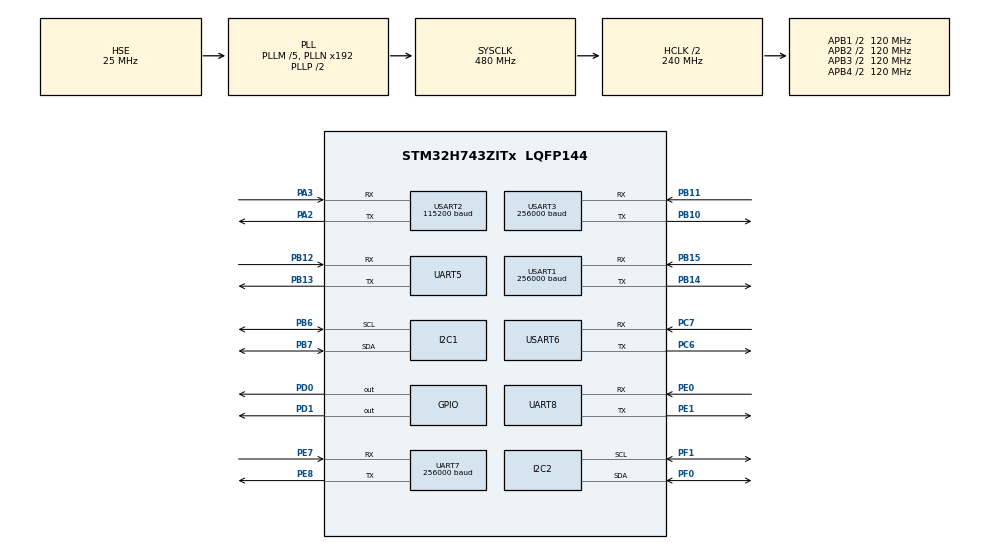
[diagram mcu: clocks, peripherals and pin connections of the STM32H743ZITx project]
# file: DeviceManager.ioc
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CORTEX_M7.default_mode_Activation=1
Dma.Request0=USART6_TX
Dma.USART6_TX.0.Direction=DMA_MEMORY_TO_PERIPH
Dma.USART6_TX.0.EventEnable=DISABLE
Dma.USART6_TX.0.FIFOMode=DMA_FIFOMODE_DISABLE
Dma.USART6_TX.0.Instance=DMA1_Stream0
Dma.USART6_TX.0.MemDataAlignment=DMA_MDATAALIGN_BYTE
Dma.USART6_TX.0.MemInc=DMA_MINC_ENABLE
Dma.USART6_TX.0.Mode=DMA_NORMAL
Dma.USART6_TX.0.PeriphDataAlignment=DMA_PDATAALIGN_BYTE
Dma.USART6_TX.0.PeriphInc=DMA_PINC_DISABLE
Dma.USART6_TX.0.Polarity=HAL_DMAMUX_REQ_GEN_RISING
Dma.USART6_TX.0.Priority=DMA_PRIORITY_LOW
Dma.USART6_TX.0.RequestNumber=1
Dma.USART6_TX.0.SignalID=NONE
Dma.USART6_TX.0.SyncEnable=DISABLE
Dma.USART6_TX.0.SyncPolarity=HAL_DMAMUX_SYNC_NO_EVENT
Dma.USART6_TX.0.SyncRequestNumber=1
Dma.USART6_TX.0.SyncSignalID=NONE
I2C1.Timing=0x307075B1
I2C2.Timing=0x307075B1
Mcu.Family=STM32H7
Mcu.Name=STM32H743ZITx
Mcu.Package=LQFP144
NVIC.DMA1_Stream0_IRQn=true\:0\:0\:false\:false\:true\:false\:true\:true
NVIC.PriorityGroup=NVIC_PRIORITYGROUP_4
NVIC.TIM1_UP_IRQn=true\:15\:0\:true\:false\:true\:true\:true\:true
NVIC.TIM2_IRQn=true\:15\:0\:true\:false\:true\:true\:true\:true
NVIC.TIM3_IRQn=true\:15\:0\:true\:false\:true\:true\:true\:true
NVIC.UART7_IRQn=true\:0\:0\:true\:false\:true\:true\:true\:true
NVIC.USART2_IRQn=true\:1\:0\:true\:false\:true\:true\:true\:true
PA13\ (JTMS/SWDIO).Mode=Serial_Wire
PA13\ (JTMS/SWDIO).Signal=DEBUG_JTMS-SWDIO
PA14\ (JTCK/SWCLK).Mode=Serial_Wire
PA14\ (JTCK/SWCLK).Signal=DEBUG_JTCK-SWCLK
PA2.Mode=Asynchronous
PA2.Signal=USART2_TX
PA3.Mode=Asynchronous
PA3.Signal=USART2_RX
PB10.Mode=Asynchronous
PB10.Signal=USART3_TX
PB11.Mode=Asynchronous
PB11.Signal=USART3_RX
PB12.Mode=Asynchronous
PB12.Signal=UART5_RX
PB13.Mode=Asynchronous
PB13.Signal=UART5_TX
PB14.Mode=Asynchronous
PB14.Signal=USART1_TX
PB15.Mode=Asynchronous
PB15.Signal=USART1_RX
PB6.Mode=I2C
PB6.Signal=I2C1_SCL
PB7.Mode=I2C
PB7.Signal=I2C1_SDA
PC14-OSC32_IN\ (OSC32_IN).Mode=LSE-External-Oscillator
PC14-OSC32_IN\ (OSC32_IN).Signal=RCC_OSC32_IN
PC15-OSC32_OUT\ (OSC32_OUT).Mode=LSE-External-Oscillator
PC15-OSC32_OUT\ (OSC32_OUT).Signal=RCC_OSC32_OUT
PC6.Mode=Asynchronous
PC6.Signal=USART6_TX
PC7.Mode=Asynchronous
PC7.Signal=USART6_RX
PD0.Signal=GPIO_Output
PD1.Signal=GPIO_Output
PE0.Mode=Asynchronous
PE0.Signal=UART8_RX
PE1.Mode=Asynchronous
PE1.Signal=UART8_TX
PE7.Mode=Asynchronous
PE7.Signal=UART7_RX
PE8.Mode=Asynchronous
PE8.Signal=UART7_TX
PF0.Mode=I2C
PF0.Signal=I2C2_SDA
PF1.Mode=I2C
PF1.Signal=I2C2_SCL
PH0-OSC_IN\ (PH0).Mode=HSE-External-Oscillator
PH0-OSC_IN\ (PH0).Signal=RCC_OSC_IN
PH1-OSC_OUT\ (PH1).Mode=HSE-External-Oscillator
PH1-OSC_OUT\ (PH1).Signal=RCC_OSC_OUT
ProjectManager.HeapSize=0x2000
ProjectManager.StackSize=0x2000
ProjectManager.TargetToolchain=MDK-ARM V5.32
RCC.ADCFreq_Value=50390625
RCC.APB1Freq_Value=120000000
RCC.APB2Freq_Value=120000000
RCC.APB3Freq_Value=120000000
RCC.APB4Freq_Value=120000000
RCC.CortexFreq_Value=480000000
RCC.D1PPRE=RCC_APB3_DIV2
RCC.D2PPRE1=RCC_APB1_DIV2
RCC.D2PPRE2=RCC_APB2_DIV2
RCC.D3PPRE=RCC_APB4_DIV2
RCC.DIVM1=5
RCC.DIVN1=192
RCC.HCLKFreq_Value=240000000
RCC.HPRE=RCC_HCLK_DIV2
RCC.HSE_VALUE=25000000
RCC.PLL2FRACN=0
RCC.PLL3FRACN=0
RCC.PLLFRACN=0
RCC.PLLSourceVirtual=RCC_PLLSOURCE_HSE
RCC.SYSCLKFreq_VALUE=480000000
RCC.SYSCLKSource=RCC_SYSCLKSOURCE_PLLCLK
RCC.USBCLockSelection=RCC_USBCLKSOURCE_HSI48
RCC.USBFreq_Value=48000000
TIM1.Period=50000
TIM1.Prescaler=240
TIM2.Period=62500
TIM2.Prescaler=239
TIM3.Period=25000
TIM3.Prescaler=240
UART7.BaudRate=256000
USART1.BaudRate=256000
USART1.VirtualMode-Asynchronous=VM_ASYNC
USART2.BaudRate=115200
USART2.VirtualMode-Asynchronous=VM_ASYNC
USART3.BaudRate=256000
USART3.VirtualMode-Asynchronous=VM_ASYNC
USART6.VirtualMode-Asynchronous=VM_ASYNC
VP_MEMORYMAP_VS_MEMORYMAP.Mode=CurAppReg
VP_TIM1_VS_ClockSourceINT.Mode=Internal
VP_TIM2_VS_ClockSourceINT.Mode=Internal
VP_TIM3_VS_ClockSourceINT.Mode=Internal
board=custom

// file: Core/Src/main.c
/* USER CODE BEGIN Header */
/**
  ******************************************************************************
  * @file           : main.c
  * @brief          : Main program body
  ******************************************************************************
  * @attention
  *
  * Copyright (c) 2026 STMicroelectronics.
  * All rights reserved.
  *
  * This software is licensed under terms that can be found in the LICENSE file
  * in the root directory of this software component.
  * If no LICENSE file comes with this software, it is provided AS-IS.
  *
  ******************************************************************************
  */
/* USER CODE END Header */
#include "main.h"
#include "dma.h"
#include "i2c.h"
#include "tim.h"
#include "usart.h"
#include "gpio.h"

/* USER CODE BEGIN Includes */
#include "comm.h"
#include "autocontrol.h"
#include "string.h"
#include <stdio.h>
#include <stdlib.h>
#include "aht20.h"
#include "ms5837.h"
/* USER CODE END Includes */

/* USER CODE BEGIN PV */
#define thrust_mean_filter_length 20
CoordinateSystems robot;
CoordinateSystems target;
extern RecBuf uart7rec;
float Vx = 0, Vy = 0, Ry = 0, Tx = 0, Ty = 0, Tz = 0, Mx = 0, My = 0, Mz = 0;

CoordinateSystems robot_pos; // 真实的机器人

CoordinateSystems robot_im_pos;    // 假的水平的机器人,用于计算机器人水平位置误差
CoordinateSystems robot_im_spd;    // 速度空间中的机器人,用于计算机器人水平横移、前进速度
CoordinateSystems robot_im_thrust; // 推力空间中的的机器人,用于计算推力
CoordinateVector  required_thrust = {0, 0, 0, 0, 0, 0};

RobotController robot_controller;
float openloop_thrust[6] = {0}; // 0~5 correspond x y z rx ry rz

MeanFilter meanfilter[6];

int led_motion   = 0;
int led_dataup   = 0;
int led_uart4    = 0;
int led_uart7    = 0;
int led_main     = 0;
int led_watchdog = 0;
int led_ms5837   = 0;

int threadmonitor_tim2  = 30;
int threadmonitor_tim3  = 30;
int threadmonitor_uart4 = 300;
int threadmonitor_uart7 = 300;

int start = 0;

uint8_t transbuf[159] = {0};

float measureddepth = 0;
float realdepth     = 0;
float startdepth    = 0;
float checkeddepth  = 0;
AHT20_HandleTypeDef aht20;
uint8_t led[2] = {0, 0};
/* USER CODE END PV */

void SystemClock_Config(void);
static void MPU_Config(void);

/* USER CODE BEGIN 0 */
void HAL_TIM_PeriodElapsedCallback(TIM_HandleTypeDef *htim)
{
    static float motorthrust[6]        = {0}; // 0~5 correspond motor0~5
    static float askedthrust[6]        = {0};
    static float motorthrust_filted[6] = {0};

    //  1号定时器中断
    //  频率 20hz
    if (htim == (&htim1))
    { // watch dog
        threadmonitor_tim2--;
        threadmonitor_tim3--;
        threadmonitor_uart4--;
        threadmonitor_uart7--;

        if (threadmonitor_tim2 <= 0)
        {
            __HAL_TIM_CLEAR_IT(&htim2, TIM_IT_UPDATE);
            HAL_TIM_Base_Start_IT(&htim2);
            threadmonitor_tim2 = 30;
        }
        if (threadmonitor_tim3 <= 0)
        {
            __HAL_TIM_CLEAR_IT(&htim3, TIM_IT_UPDATE);
            HAL_TIM_Base_Start_IT(&htim3);
            threadmonitor_tim3 = 30;
        }
        // if (threadmonitor_uart4 <= 0)
        // {
        //     HAL_UART_Receive_IT(&huart4, uart2rec.buf, 1);
        //     __HAL_UART_CLEAR_OREFLAG(&huart4);
        //     threadmonitor_uart4 = 30;
        // }
        if (threadmonitor_uart7 <= 0)
        {
            MX_UART7_Init();
            HAL_UART_Receive_IT(&huart7, uart7rec.buf + uart7rec.cnt, 1);
            threadmonitor_uart7 = 50;
        }
        // led
        if (led_watchdog)
            HAL_GPIO_WritePin(GPIOD, GPIO_PIN_5, GPIO_PIN_SET);
        else
            HAL_GPIO_WritePin(GPIOD, GPIO_PIN_5, GPIO_PIN_RESET);
        led_watchdog = !led_watchdog;
    }
    //  2号定时器中断
    //  频率 16hz
   if (htim == (&htim2))
    {
				if (imu.pos.x == 0.0f) imu.pos.x = 0.0f;
				if (imu.pos.y == 0.0f) imu.pos.y = 0.0f;
				if (imu.pos.z == 0.0f) imu.pos.z = 0.0f;
				if (imu.spd.x == 0.0f) imu.spd.x = 0.0f;
				if (imu.spd.y == 0.0f) imu.spd.y = 0.0f;
				if (imu.spd.z == 0.0f) imu.spd.z = 0.0f;
        threadmonitor_tim3 = 20;
				transbuf[0]=0xFA;
				transbuf[1]=0xAF;
				transbuf[157]=0xFB;
				transbuf[158]=0xBF;
        memcpy(transbuf + 3, &(robot.base.vector), 24);
        // memcpy(transbuf + 27, &(robot.target_inbase.vector), 24);
        memcpy(transbuf + 27, &(robot_im_pos.target_inbase.vector), 12);
        memcpy(transbuf + 39, (uint8_t *)&(robot_pos.target_inbase.vector.rx), 12);
        memcpy(transbuf + 51, &(robot.target_inworld.vector), 24);
        memcpy(transbuf + 75, &(robot_controller.state), 6);
        memcpy(transbuf + 81, &(imu), 50);
        memcpy(transbuf + 131, &(motorthrust_filted), 24);
        memcpy(transbuf + 155, &led, 2);

        // __HAL_UNLOCK(&huart4);
        HAL_UART_Transmit(&huart2, transbuf, 159, 100);

        // led
        if (led_dataup)
            HAL_GPIO_WritePin(GPIOD, GPIO_PIN_1, GPIO_PIN_SET);
        else
            HAL_GPIO_WritePin(GPIOD, GPIO_PIN_1, GPIO_PIN_RESET);
        led_dataup = !led_dataup;
    }
    //  3号定时器中断
    //  频率 40hz
    else if (htim == (&htim3))
    {
        // threadmonitor_tim2 = 20;

        // // Cs data refresh
        robot.base.vector.x  = imu.pos.x;
        robot.base.vector.y  = imu.pos.y;
        robot.base.vector.z  = imu.pos.z;
        robot.base.vector.rx = imu.pos.rx;
        robot.base.vector.ry = imu.pos.ry;
        robot.base.vector.rz = imu.pos.rz;

        // // refresh CoordinateSystems
        // robot.base.extract(&(robot.base));

        // // Cs transform
        // robot.world2base(&robot);

        // 计算各控制器所需测量值与误差值DF
        // 机器人坐标
        robot_im_pos.base.vector.x = robot_pos.base.vector.x = imu.pos.x;
        robot_im_pos.base.vector.y = robot_pos.base.vector.y = imu.pos.y;
        robot_im_pos.base.vector.z = robot_pos.base.vector.z = imu.pos.z;

        // 目标位置
        robot_im_pos.target_inworld.vector.x = robot_pos.target_inworld.vector.x = robot.target_inworld.vector.x;
        robot_im_pos.target_inworld.vector.y = robot_pos.target_inworld.vector.y = robot.target_inworld.vector.y;
        robot_im_pos.target_inworld.vector.z = robot_pos.target_inworld.vector.z = robot.target_inworld.vector.z;
        robot_im_pos.target_inworld.vector.rz = robot_pos.target_inworld.vector.rz = robot.target_inworld.vector.rz;
        robot_im_pos.target_inworld.extract(&(robot_im_pos.target_inworld));

        // 姿态
        robot_pos.base.vector.rx = imu.pos.rx;
        robot_pos.base.vector.ry = imu.pos.ry;
        robot_pos.base.vector.rz = imu.pos.rz;
        robot_pos.base.extract(&(robot_pos.base));

        robot_im_spd.base.vector.rx = robot_im_thrust.base.vector.rx = robot_pos.base.vector.rx;
        robot_im_spd.base.vector.ry = robot_im_thrust.base.vector.ry = robot_pos.base.vector.ry;
        robot_im_pos.base.vector.rz                                  = robot_pos.base.vector.rz;

        // 导出各参考系变换器对象的基底矩阵
        robot_im_pos.base.extract(&(robot_im_pos.base));
        robot_im_spd.base.extract(&(robot_im_spd.base));
        robot_im_thrust.base.extract(&(robot_im_thrust.base));

        // 计算机器人的水平横移与前进速度
        robot_im_spd.target_inbase.vector.x = imu.spd.x;
        robot_im_spd.target_inbase.vector.y = imu.spd.y;
        robot_im_spd.target_inbase.vector.z = imu.spd.z;
        robot_im_spd.target_inbase.extract(&(robot_im_spd.target_inbase));
        robot_im_spd.base2world(&robot_im_spd);

        // 计算机器人参考系中的水平误差（横向与前向）
        robot_im_pos.world2base(&robot_im_pos);

        // Pid controller refresh
        if (robot_controller.state[0] == 1) // x
            Tx = robot_controller.x.refresh(&robot_controller.x, robot_im_pos.target_inbase.vector.x);
        else
            Tx = openloop_thrust[0];

        if (robot_controller.state[1] == 1) // y
            Ty = robot_controller.y.refresh(&robot_controller.y, robot_im_pos.target_inbase.vector.y);
        else
            Ty = openloop_thrust[1];

        if (robot_controller.state[2] == 1) // z
            Tz = robot_controller.z.refresh(&robot_controller.z, robot_im_pos.target_inbase.vector.z) + 400;
        else
            Tz = openloop_thrust[2];

        // 姿态控制器
        robot_pos.target_inworld.vector.ry = Ry;
        robot_pos.target_inworld.extract(&(robot_pos.target_inworld));
        robot_pos.world2base(&robot_pos);

        if (robot_controller.state[3] == 1) // rx
            //Mx = robot_controller.rx.refresh(&robot_controller.rx, AngleCorrect(robot_pos.target_inbase.vector.rx));
            Mx = 0;
        else
            //Mx = openloop_thrust[3];
            Mx = 0;
        if (robot_controller.state[4] == 1) // ry
            My = robot_controller.ry.refresh(&robot_controller.ry, AngleCorrect(robot_pos.target_inbase.vector.ry));
        else
            My = openloop_thrust[4];

        if (robot_controller.state[5] == 1) // rz
            Mz = robot_controller.rz.refresh(&robot_controller.rz, AngleCorrect(robot_pos.target_inbase.vector.rz));
        else
            Mz = openloop_thrust[5];

        // 推力换算
        // Tx = NEGATIVE_BUOYANCY * tan(robot_pos.base.vector.ry * deg2rad);

        robot_im_thrust.target_inworld.vector.x = Tx;
        robot_im_thrust.target_inworld.vector.y = Ty;
        robot_im_thrust.target_inworld.vector.z = Tz;
        robot_im_thrust.target_inworld.extract(&(robot_im_thrust.target_inworld));
        robot_im_thrust.world2base(&robot_im_thrust);

        askedthrust[0] = robot_im_thrust.target_inbase.vector.x;
        askedthrust[1] = robot_im_thrust.target_inbase.vector.y;
        askedthrust[2] = robot_im_thrust.target_inbase.vector.z;

        robot_im_thrust.target_inworld.vector.x = Mx;
        robot_im_thrust.target_inworld.vector.y = My;
        robot_im_thrust.target_inworld.vector.z = Mz;
        robot_im_thrust.target_inworld.extract(&(robot_im_thrust.target_inworld));
        robot_im_thrust.world2base(&robot_im_thrust);

        askedthrust[3] = robot_im_thrust.target_inbase.vector.x;
        askedthrust[4] = robot_im_thrust.target_inbase.vector.y;
        askedthrust[5] = robot_im_thrust.target_inbase.vector.z;

        // allocate thrust
//        ThrustAllocate(askedthrust, motorthrust);

        // thrust filter
        // for (int i = 0; i < 6; i++) { motorthrust_filted[i] = meanfilter[i].refresh(&(meanfilter[i]), motorthrust[i]); }
        for (int i = 0; i < 6; i++) { motorthrust_filted[i] = motorthrust[i]; }

        // Convert thrust signal to PWM signal
//        MotorPwmRefresh(motorthrust_filted);

        // 通过 UART6 发送推力数据给另一个单片机
        // 数据包格式: 帧头(0xAA 0x55) + 6个float推力数据(24字节) + 帧尾(0x0D 0x0A)
        uint8_t uart6_tx_buf[28];
        uart6_tx_buf[0] = 0xFA;
        uart6_tx_buf[1] = 0xAF;
				uart6_tx_buf[2] = 0x01;

        memcpy(&uart6_tx_buf[3], askedthrust, 24);
        uart6_tx_buf[26] = 0xFB;
        uart6_tx_buf[27] = 0xBf;
        HAL_UART_Transmit(&huart6, uart6_tx_buf, 28,100);

        // led
//        if (led_motion)
//            HAL_GPIO_WritePin(GPIOD, GPIO_PIN_0, GPIO_PIN_SET);
//        else
//            HAL_GPIO_WritePin(GPIOD, GPIO_PIN_0, GPIO_PIN_RESET);
        led_motion = !led_motion;
    }
}
/* USER CODE END 0 */

int main(void)
{

  /* MPU Configuration--------------------------------------------------------*/
  MPU_Config();

  /* MCU Configuration--------------------------------------------------------*/

  /* Reset of all peripherals, Initializes the Flash interface and the Systick. */
  HAL_Init();

  /* Configure the system clock */
  SystemClock_Config();

  /* Initialize all configured peripherals */
  MX_GPIO_Init();
  MX_DMA_Init();
  MX_I2C1_Init();
  MX_I2C2_Init();
  MX_UART5_Init();
  MX_UART7_Init();
  MX_USART1_UART_Init();
  MX_USART2_UART_Init();
  MX_USART3_UART_Init();
  MX_UART8_Init();
  MX_TIM2_Init();
  MX_TIM3_Init();
  MX_USART6_UART_Init();
  MX_TIM1_Init();
  /* USER CODE BEGIN 2 */
	Ms5837Init(&hi2c1);
	    // Data init
  CoordinateSystems_Init(&robot);  // Robot CS
  CoordinateSystems_Init(&target); // target CS

    // 机器人描述矩阵初始化
  CoordinateSystems_Init(&robot_pos);
  CoordinateSystems_Init(&robot_im_pos);
  CoordinateSystems_Init(&robot_im_spd);
  CoordinateSystems_Init(&robot_im_thrust);
	robot_controller.state[0] = robot_controller.state[1] = robot_controller.state[2] = 0;
  robot_controller.state[3] = robot_controller.state[4] = robot_controller.state[5] = 0;
  PositionalPID_Init(&(robot_controller.x), 0, 0, 0, 0, 0);  // X pid controller
  PositionalPID_Init(&(robot_controller.y), 0, 0, 0, 0, 0);  // y pid controller
  PositionalPID_Init(&(robot_controller.z), 0, 0, 0, 0, 0);  // z pid controller
  PositionalPID_Init(&(robot_controller.rx), 0, 0, 0, 0, 0); // pitch pid controller
  PositionalPID_Init(&(robot_controller.ry), 0, 0, 0, 0, 0); // roll pid controller
  PositionalPID_Init(&(robot_controller.rz), 0, 0, 0, 0, 0); // yaw pid controller
	 MeanFilter_Init(&(meanfilter[0]), thrust_mean_filter_length);
    MeanFilter_Init(&(meanfilter[1]), thrust_mean_filter_length);
    MeanFilter_Init(&(meanfilter[2]), thrust_mean_filter_length);
    MeanFilter_Init(&(meanfilter[3]), thrust_mean_filter_length);
    MeanFilter_Init(&(meanfilter[4]), thrust_mean_filter_length);
    MeanFilter_Init(&(meanfilter[5]), thrust_mean_filter_length);

	HAL_UART_Receive_IT(&huart7, uart7rec.buf, 1);
	AHT20_Init(&aht20,&hi2c2,AHT20_ADDRESS);
	AHT20_Begin(&aht20);
 	HAL_TIM_Base_Start_IT(&htim1);
	HAL_TIM_Base_Start_IT(&htim2);
	HAL_TIM_Base_Start_IT(&htim3);
	CommInit();
	imu_setmode(&huart7);

  /* USER CODE END 2 */

  /* Infinite loop */
  /* USER CODE BEGIN WHILE */
  while (1)  {
		if(refresh)
		{
			refresh=0;
			if(dvlstate)
			{
				dvl_startup(&huart7);

			}else
			{
				dvl_shutdown(&huart7);
			}
		}
		AHT20_Read(&aht20,&aht20.temperature,&aht20.humidity);
    /* USER CODE END WHILE */

  }
}

void SystemClock_Config(void)
{
  RCC_OscInitTypeDef RCC_OscInitStruct = {0};
  RCC_ClkInitTypeDef RCC_ClkInitStruct = {0};

  /** Supply configuration update enable
  */
  HAL_PWREx_ConfigSupply(PWR_LDO_SUPPLY);

  /** Configure the main internal regulator output voltage
  */
  __HAL_PWR_VOLTAGESCALING_CONFIG(PWR_REGULATOR_VOLTAGE_SCALE0);

  while(!__HAL_PWR_GET_FLAG(PWR_FLAG_VOSRDY)) {}

  /** Initializes the RCC Oscillators according to the specified parameters
  * in the RCC_OscInitTypeDef structure.
  */
  RCC_OscInitStruct.OscillatorType = RCC_OSCILLATORTYPE_HSE;
  RCC_OscInitStruct.HSEState = RCC_HSE_ON;
  RCC_OscInitStruct.PLL.PLLState = RCC_PLL_ON;
  RCC_OscInitStruct.PLL.PLLSource = RCC_PLLSOURCE_HSE;
  RCC_OscInitStruct.PLL.PLLM = 5;
  RCC_OscInitStruct.PLL.PLLN = 192;
  RCC_OscInitStruct.PLL.PLLP = 2;
  RCC_OscInitStruct.PLL.PLLQ = 2;
  RCC_OscInitStruct.PLL.PLLR = 2;
  RCC_OscInitStruct.PLL.PLLRGE = RCC_PLL1VCIRANGE_2;
  RCC_OscInitStruct.PLL.PLLVCOSEL = RCC_PLL1VCOWIDE;
  RCC_OscInitStruct.PLL.PLLFRACN = 0;
  if (HAL_RCC_OscConfig(&RCC_OscInitStruct) != HAL_OK)
  {
    Error_Handler();
  }

  /** Initializes the CPU, AHB and APB buses clocks
  */
  RCC_ClkInitStruct.ClockType = RCC_CLOCKTYPE_HCLK|RCC_CLOCKTYPE_SYSCLK
                              |RCC_CLOCKTYPE_PCLK1|RCC_CLOCKTYPE_PCLK2
                              |RCC_CLOCKTYPE_D3PCLK1|RCC_CLOCKTYPE_D1PCLK1;
  RCC_ClkInitStruct.SYSCLKSource = RCC_SYSCLKSOURCE_PLLCLK;
  RCC_ClkInitStruct.SYSCLKDivider = RCC_SYSCLK_DIV1;
  RCC_ClkInitStruct.AHBCLKDivider = RCC_HCLK_DIV2;
  RCC_ClkInitStruct.APB3CLKDivider = RCC_APB3_DIV2;
  RCC_ClkInitStruct.APB1CLKDivider = RCC_APB1_DIV2;
  RCC_ClkInitStruct.APB2CLKDivider = RCC_APB2_DIV2;
  RCC_ClkInitStruct.APB4CLKDivider = RCC_APB4_DIV2;

  if (HAL_RCC_ClockConfig(&RCC_ClkInitStruct, FLASH_LATENCY_4) != HAL_OK)
  {
    Error_Handler();
  }
}

/* USER CODE BEGIN 4 */
void HAL_UART_ErrorCallback(UART_HandleTypeDef *huart)
{
    if (huart->Instance == UART7)
    {
        // 发生错误时，清除错误标志位（比如溢出错误 ORE）
        __HAL_UART_CLEAR_OREFLAG(huart);
        __HAL_UART_CLEAR_NEFLAG(huart);
        __HAL_UART_CLEAR_FEFLAG(huart);
        __HAL_UART_CLEAR_PEFLAG(huart);

        // 恢复接收状态并重新开启中断接收
        huart->RxState = HAL_UART_STATE_READY;
        huart->Lock = HAL_UNLOCKED;
        HAL_UART_Receive_IT(&huart7, uart7rec.buf + uart7rec.cnt, 1);
    }
		if (huart->Instance == USART2)
    {
        // 发生错误时，清除错误标志位（比如溢出错误 ORE）
        __HAL_UART_CLEAR_OREFLAG(huart);
        __HAL_UART_CLEAR_NEFLAG(huart);
        __HAL_UART_CLEAR_FEFLAG(huart);
        __HAL_UART_CLEAR_PEFLAG(huart);

        // 恢复接收状态并重新开启中断接收
        huart->RxState = HAL_UART_STATE_READY;
        huart->Lock = HAL_UNLOCKED;
        HAL_UART_Receive_IT(&huart2, uart2rec.buf + uart2rec.cnt, 1);
    }
}
/* USER CODE END 4 */

 /* MPU Configuration */

void MPU_Config(void)
{
  MPU_Region_InitTypeDef MPU_InitStruct = {0};

  /* Disables the MPU */
  HAL_MPU_Disable();

  /** Initializes and configures the Region and the memory to be protected
  */
  MPU_InitStruct.Enable = MPU_REGION_ENABLE;
  MPU_InitStruct.Number = MPU_REGION_NUMBER0;
  MPU_InitStruct.BaseAddress = 0x0;
  MPU_InitStruct.Size = MPU_REGION_SIZE_4GB;
  MPU_InitStruct.SubRegionDisable = 0x87;
  MPU_InitStruct.TypeExtField = MPU_TEX_LEVEL0;
  MPU_InitStruct.AccessPermission = MPU_REGION_NO_ACCESS;
  MPU_InitStruct.DisableExec = MPU_INSTRUCTION_ACCESS_DISABLE;
  MPU_InitStruct.IsShareable = MPU_ACCESS_SHAREABLE;
  MPU_InitStruct.IsCacheable = MPU_ACCESS_NOT_CACHEABLE;
  MPU_InitStruct.IsBufferable = MPU_ACCESS_NOT_BUFFERABLE;

  HAL_MPU_ConfigRegion(&MPU_InitStruct);
  /* Enables the MPU */
  HAL_MPU_Enable(MPU_PRIVILEGED_DEFAULT);

}

void Error_Handler(void)
{
  __disable_irq();
  while (1)
  {
  }
}
